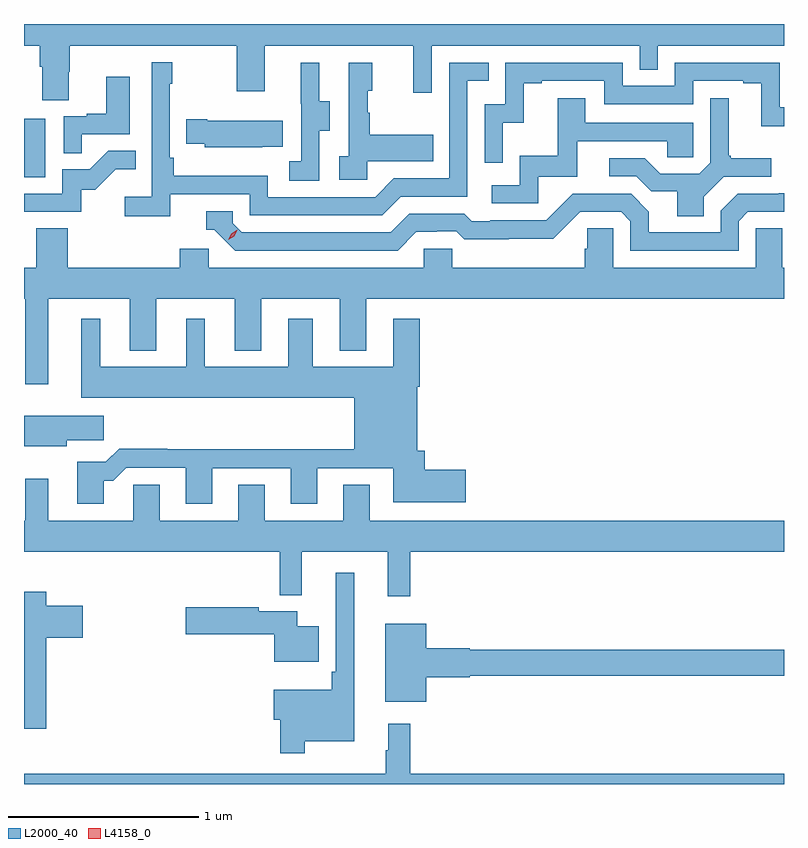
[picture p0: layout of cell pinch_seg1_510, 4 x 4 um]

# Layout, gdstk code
import gdstk
lib = gdstk.Library(unit=1e-6, precision=1e-09)
def R(c, l, rs):  # rectangles x0, y0, x1, y1
    for r in rs: c.add(gdstk.rectangle(r[:2], r[2:], *l))
def P(c, l, *ps):  # polygons
    for p in ps: c.add(gdstk.Polygon(p, *l))
L2000_40 = (2000, 40)
L4158_0 = (4158, 0)

pinch_seg1_510 = lib.new_cell('pinch_seg1_510')
R(pinch_seg1_510, L2000_40, [(1042.938,525.732,1043.05,526.039)])
P(pinch_seg1_510, L2000_40, [(1043.173,526.287),(1043.18,526.287),(1043.18,526.424),(1044.058,526.424),(1044.058,526.185),(1044.205,526.185),(1044.205,526.424),(1044.986,526.424),(1044.986,526.176),(1045.083,526.176),(1045.083,526.424),(1046.178,526.424),(1046.178,526.297),(1046.274,526.297),(1046.274,526.424),(1046.938,526.424),(1046.938,526.538),(1042.938,526.538),(1042.938,526.424),(1043.021,526.424),(1043.021,526.312),(1043.033,526.312),(1043.033,526.138),(1043.173,526.138)],
  [(1043.708,525.642),(1044.126,525.642),(1044.126,525.531),(1044.823,525.531),(1044.922,525.63),(1045.272,525.63),(1045.272,526.239),(1045.385,526.239),(1045.385,526.335),(1045.176,526.335),(1045.176,525.726),(1044.885,525.726),(1044.786,525.627),(1044.222,525.627),(1044.222,525.739),(1043.726,525.739),(1043.726,525.835),(1043.706,525.835),(1043.706,526.223),(1043.719,526.223),(1043.719,526.336),(1043.61,526.336),(1043.61,525.628),(1043.469,525.628),(1043.469,525.526),(1043.708,525.526)],
  [(1045.458,526.019),(1045.568,526.019),(1045.568,526.227),(1045.663,526.227),(1045.663,526.239),(1045.992,526.239),(1045.992,526.116),(1046.46,526.116),(1046.46,526.239),(1046.723,526.239),(1046.723,526.227),(1046.819,526.227),(1046.819,526.001),(1046.938,526.001),(1046.938,526.099),(1046.916,526.099),(1046.916,526.335),(1046.364,526.335),(1046.364,526.212),(1046.088,526.212),(1046.088,526.335),(1045.47,526.335),(1045.47,526.116),(1045.362,526.116),(1045.362,525.807),(1045.458,525.807)],
  [(1044.744,525.815),(1045.091,525.815),(1045.091,525.955),(1044.757,525.955),(1044.757,526.07),(1044.747,526.07),(1044.747,526.188),(1044.772,526.188),(1044.772,526.333),(1044.648,526.333),(1044.648,525.842),(1044.597,525.842),(1044.597,525.717),(1044.744,525.717)],
  [(1044.492,525.976),(1044.547,525.976),(1044.547,526.131),(1044.493,526.131),(1044.493,526.333),(1044.395,526.333),(1044.395,526.119),(1044.396,526.119),(1044.396,525.815),(1044.333,525.815),(1044.333,525.712),(1044.492,525.712)],
  [(1043.243,525.957),(1043.494,525.957),(1043.494,526.261),(1043.372,526.261),(1043.372,526.066),(1043.269,526.066),(1043.269,526.053),(1043.148,526.053),(1043.148,525.859),(1043.243,525.859)],
  [(1045.644,525.735),(1045.849,525.735),(1045.849,525.921),(1046.323,525.921),(1046.323,525.837),(1046.46,525.837),(1046.46,526.017),(1045.891,526.017),(1045.891,526.147),(1045.747,526.147),(1045.747,525.844),(1045.548,525.844),(1045.548,525.69),(1045.401,525.69),(1045.401,525.594),(1045.644,525.594)],
  [(1046.515,525.628),(1046.622,525.735),(1046.872,525.735),(1046.872,525.832),(1046.659,525.832),(1046.659,525.844),(1046.647,525.844),(1046.647,526.147),(1046.55,526.147),(1046.55,525.807),(1046.493,525.75),(1046.287,525.75),(1046.206,525.831),(1046.019,525.831),(1046.019,525.738),(1046.16,525.738),(1046.24,525.658),(1046.375,525.658),(1046.375,525.526),(1046.515,525.526)],
  [(1044.191,525.893),(1044.299,525.893),(1044.299,526.03),(1043.902,526.03),(1043.902,526.038),(1043.791,526.038),(1043.791,525.908),(1043.889,525.908),(1043.889,525.89),(1044.191,525.89)],
  [(1043.238,525.666),(1043.314,525.666),(1043.421,525.773),(1043.525,525.773),(1043.525,525.872),(1043.382,525.872),(1043.284,525.774),(1043.139,525.774),(1043.139,525.645),(1042.938,525.645),(1042.938,525.549),(1043.238,525.549)],
  [(1045.003,525.444),(1045.11,525.444),(1045.11,525.447),(1045.213,525.447),(1045.255,525.405),(1045.488,525.405),(1045.488,525.407),(1045.724,525.407),(1045.866,525.549),(1046.082,525.549),(1046.13,525.501),(1046.13,525.345),(1046.7,525.345),(1046.7,525.501),(1046.748,525.549),(1046.938,525.549),(1046.938,525.647),(1046.91,525.647),(1046.91,525.645),(1046.694,525.645),(1046.604,525.555),(1046.604,525.441),(1046.227,525.441),(1046.227,525.551),(1046.133,525.645),(1045.827,525.645),(1045.686,525.504),(1045.393,525.504),(1045.393,525.501),(1045.294,525.501),(1045.255,525.54),(1044.966,525.54),(1044.867,525.441),(1044.084,525.441),(1044.036,525.489),(1044.036,525.552),(1043.897,525.552),(1043.897,525.456),(1043.94,525.456),(1044.051,525.345),(1044.904,525.345)],
  [(1044.047,524.819),(1044.187,524.819),(1044.187,525.092),(1044.599,525.092),(1044.599,524.819),(1044.739,524.819),(1044.739,525.092),(1046.938,525.092),(1046.938,525.256),(1046.929,525.256),(1046.929,525.464),(1046.79,525.464),(1046.79,525.256),(1046.04,525.256),(1046.04,525.464),(1045.903,525.464),(1045.903,525.354),(1045.889,525.354),(1045.889,525.256),(1045.191,525.256),(1045.191,525.354),(1045.041,525.354),(1045.041,525.256),(1043.91,525.256),(1043.91,525.354),(1043.759,525.354),(1043.759,525.256),(1043.168,525.256),(1043.168,525.464),(1043.003,525.464),(1043.003,525.256),(1042.938,525.256),(1042.938,525.092),(1042.944,525.092),(1042.944,524.643),(1043.065,524.643),(1043.065,525.092),(1043.495,525.092),(1043.495,524.819),(1043.635,524.819),(1043.635,525.092),(1044.047,525.092)],
  [(1043.359,524.135),(1043.408,524.135),(1043.475,524.202),(1043.789,524.202),(1043.789,524.013),(1043.929,524.013),(1043.929,524.199),(1044.341,524.199),(1044.341,524.013),(1044.481,524.013),(1044.481,524.199),(1044.881,524.199),(1044.881,524.021),(1045.264,524.021),(1045.264,524.192),(1045.046,524.192),(1045.046,524.292),(1045.009,524.292),(1045.009,524.63),(1045.022,524.63),(1045.022,524.986),(1044.881,524.986),(1044.881,524.734),(1044.457,524.734),(1044.457,524.986),(1044.329,524.986),(1044.329,524.734),(1043.89,524.734),(1043.89,524.986),(1043.792,524.986),(1043.792,524.734),(1043.338,524.734),(1043.338,524.986),(1043.24,524.986),(1043.24,524.57),(1044.677,524.57),(1044.677,524.3),(1043.693,524.3),(1043.693,524.303),(1043.438,524.303),(1043.368,524.233),(1043.219,524.233),(1043.219,524.013),(1043.359,524.013)],
  [(1043.164,524.347),(1043.359,524.347),(1043.359,524.476),(1042.938,524.476),(1042.938,524.315),(1043.164,524.315)],
  [(1044.971,523.76),(1046.938,523.76),(1046.938,523.924),(1044.757,523.924),(1044.757,524.114),(1044.617,524.114),(1044.617,523.924),(1044.205,523.924),(1044.205,524.114),(1044.065,524.114),(1044.065,523.924),(1043.653,523.924),(1043.653,524.114),(1043.514,524.114),(1043.514,523.924),(1043.065,523.924),(1043.065,524.145),(1042.944,524.145),(1042.944,523.924),(1042.938,523.924),(1042.938,523.76),(1044.283,523.76),(1044.283,523.532),(1044.401,523.532),(1044.401,523.76),(1044.853,523.76),(1044.853,523.527),(1044.971,523.527)],
  [(1044.415,522.764),(1044.676,522.764),(1044.676,523.651),(1044.579,523.651),(1044.579,523.129),(1044.559,523.129),(1044.559,523.033),(1044.252,523.033),(1044.252,522.875),(1044.286,522.875),(1044.286,522.699),(1044.415,522.699)],
  [(1043.056,523.307),(1043.248,523.307),(1043.248,523.477),(1043.056,523.477),(1043.056,523.549),(1042.938,523.549),(1042.938,522.828),(1043.056,522.828)],
  [(1044.49,523.369),(1044.376,523.369),(1044.376,523.447),(1044.174,523.447),(1044.174,523.467),(1043.79,523.467),(1043.79,523.325),(1044.254,523.325),(1044.254,523.181),(1044.49,523.181)],
  [(1045.054,523.1),(1045.284,523.1),(1045.284,523.108),(1046.938,523.108),(1046.938,523.244),(1045.284,523.244),(1045.284,523.252),(1045.054,523.252),(1045.054,523.381),(1044.839,523.381),(1044.839,522.971),(1045.054,522.971)],
  [(1046.938,522.592),(1044.971,522.592),(1044.971,522.856),(1044.854,522.856),(1044.854,522.716),(1044.843,522.716),(1044.843,522.592),(1042.938,522.592),(1042.938,522.538),(1046.938,522.538)])
P(pinch_seg1_510, L4158_0, [(1044.013,525.403),(1044.013,525.403),(1044.03,525.435),(1044.061,525.454),(1044.061,525.454),(1044.061,525.454),(1044.044,525.422),(1044.013,525.403)])

lib.write_gds('pinch_seg1_510.gds')
